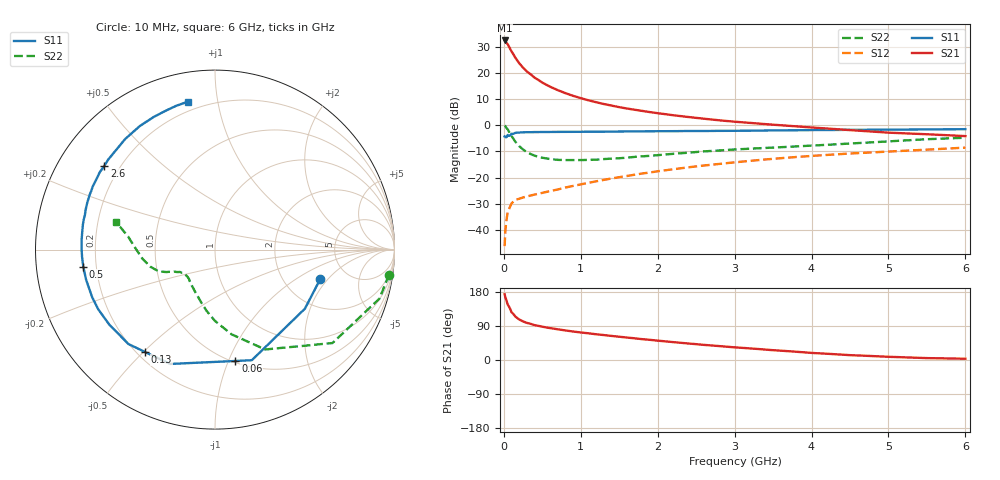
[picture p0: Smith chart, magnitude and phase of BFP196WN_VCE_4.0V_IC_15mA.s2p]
! Infineon Technologies  Discrete & RF Semiconductors
! BFP196WN
! VCE =  4.0 V,  IC =  15 mA
! Common Emitter S-Parameters:  Jan 2017
# GHz  S  MA  R  50
!  f  S11  S21  S12  S22
! GHz  MAG  ANG  MAG  ANG  MAG  ANG  MAG  ANG
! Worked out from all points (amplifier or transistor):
!   77 points, 10 MHz to 6 GHz, reference 50 ohm
!   highest |S21| = 32.3 dB at 10 MHz (marker M1)
!   |S21| within 3 dB of that: start of sweep to 78.01 MHz
!   unconditionally stable (mu >= 1): 983 MHz to 2.701 GHz
!   at 130 MHz: K = 0.26, MSG = 27.9 dB, |S12| = -29.0 dB
!   at 2.2 GHz: K = 1.04, MAG = 9.1 dB, |S12| = -16.9 dB
!   at 6 GHz: K = 0.88, MSG = 2.2 dB, |S12| = -8.6 dB
!   S11 on the Smith chart (normalised r, x): 10 MHz: 3.17, -1.66; 60 MHz: 0.51, -1.06; 130 MHz: 0.23, -0.51; 500 MHz: 0.15, -0.06; 2.6 GHz: 0.14, +0.33; 6 GHz: 0.15, +0.82
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0.01  0.6088 -15.7  41.35 173.5  0.0049 85.3  0.9796 -8.2
0.02  0.5994 -33.3  39.68 165.3  0.0098 77.6  0.9562 -16.6
0.05  0.6495 -71.6  35.07 146.4  0.0217 61.5  0.8363 -38.5
0.06  0.6309 -79.6  32.9 143.3  0.0236 57.3  0.7839 -42.3
0.1  0.6844 -111.4  25.56 126.0  0.032 45.7  0.623 -63.3
0.13  0.6908 -124.3  21.71 119.8  0.0353 42.0  0.533 -71.7
0.15  0.7138 -132.5  19.33 114.4  0.0375 39.9  0.4812 -78.9
0.2  0.7221 -144.6  15.21 106.9  0.0394 37.2  0.397 -90.1
0.25  0.7307 -152.9  12.48 101.7  0.0417 36.6  0.3432 -98.0
0.3  0.734 -158.8  10.56 97.9  0.0436 36.4  0.3032 -104.8
0.4  0.7376 -167.0  8.061 92.0  0.0473 39.4  0.2612 -114.8
0.5  0.74 -172.6  6.489 87.8  0.051 42.4  0.239 -122.6
0.7  0.7434 179.9  4.659 81.1  0.0591 47.9  0.2176 -132.2
0.9  0.7455 173.8  3.629 75.2  0.0692 51.7  0.2153 -138.3
1.1  0.7491 169.3  2.981 70.4  0.0794 54.9  0.2172 -142.5
1.5  0.756 161.4  2.205 61.4  0.1015 58.2  0.2336 -147.9
2.1  0.7671 151.0  1.619 49.2  0.1377 59.3  0.2755 -153.2
2.6  0.7735 142.9  1.328 39.9  0.1697 58.1  0.3157 -157.0
3.1  0.7816 135.1  1.134 32.0  0.2015 55.8  0.3495 -161.4
4.1  0.8066 120.0  0.883 17.6  0.2644 49.0  0.4141 -174.7
5.1  0.8224 108.6  0.709 7.8  0.3186 41.6  0.4995 170.4
6  0.8385 100.3  0.618 3.3  0.3723 35.4  0.5756 164.3
